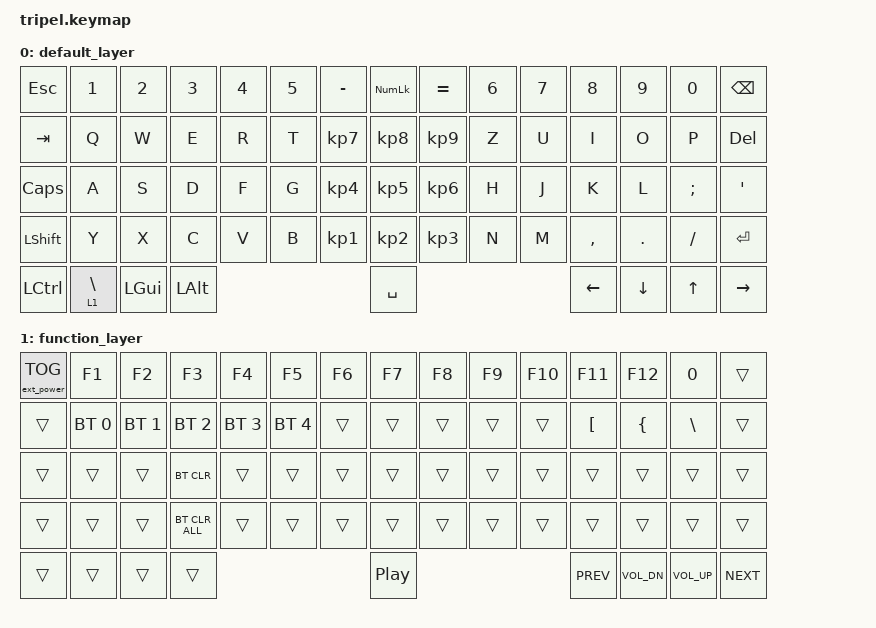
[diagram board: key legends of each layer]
#include <behaviors.dtsi>
#include <dt-bindings/zmk/keys.h>
#include <dt-bindings/zmk/bt.h>
#include <dt-bindings/zmk/ext_power.h>

/ {
    keymap {
        compatible = "zmk,keymap";

        default_layer {
// ,-----------------------------------------------------------------------------------------------------------------------.
// | ESC   |   1   |   2   |   3   |   4   |   5   |   -   |  Num  |   =   |   6   |   7   |   8   |   9   |   0   | BSPC  |
// |-------+-------+-------+-------+-------+-------+-------+-------+-------+-------+-------+-------+-------+-------+-------|
// |  Tab  |   Q   |   W   |   E   |   R   |   T   |   7   |   8   |   9   |   Z   |   U   |   I   |   O   |   P   |  Del  |
// |-------+-------+-------+-------+-------+-------+-------+-------+-------+-------+-------+-------+-------+-------+-------|
// | CAPS  |   A   |   S   |   D   |   F   |   G   |   4   |   5   |   6   |   H   |   J   |   K   |   L   |   ;   |   '   |
// |-------+-------+-------+-------+-------+-------+-------+-------+-------+-------+-------+-------+-------+-------+-------|
// | Shift |   Y   |   X   |   C   |   V   |   B   |   1   |   2   |   3   |   N   |   M   |   ,   |   .   |   /   | Enter |
// |-------+-------+---------------------------------------------------------------------------------------+-------+-------|
// | Ctrl  | Fn  \ |  Cmd  |  Alt  |                         Space                         | Left  | Down  |  Up   | Right |
// `-----------------------------------------------------------------------------------------------------------------------'
            bindings = <
&kp ESC           &kp N1       &kp N2       &kp N3         &kp N4       &kp N5       &kp MINUS  &kp KP_NUM       &kp EQUAL   &kp N6  &kp N7   &kp N8     &kp N9       &kp N0       &kp BSPC
&kp TAB           &kp Q        &kp W        &kp E          &kp R        &kp T        &kp KP_N7  &kp KP_N8        &kp KP_N9   &kp Z   &kp U    &kp I      &kp O        &kp P        &kp DEL
&kp CAPS          &kp A        &kp S        &kp D          &kp F        &kp G        &kp KP_N4  &kp KP_N5        &kp KP_N6   &kp H   &kp J    &kp K      &kp L        &kp SEMI     &kp SQT
&kp LSHIFT        &kp Y        &kp X        &kp C          &kp V        &kp B        &kp KP_N1  &kp KP_N2        &kp KP_N3   &kp N   &kp M    &kp COMMA  &kp DOT      &kp SLASH    &kp ENTER
&kp LCTRL         &lt 1 BSLH   &kp LGUI     &kp LALT                                            &kp SPACE                                     &kp LEFT   &kp DOWN     &kp UP       &kp RIGHT
            >;
        };

        function_layer {
            bindings = <
&ext_power EP_TOG &kp F1       &kp F2       &kp F3         &kp F4       &kp F5       &kp F6     &kp F7           &kp F8      &kp F9  &kp F10  &kp F11    &kp F12      &kp N0       &trans
&trans            &bt BT_SEL 0 &bt BT_SEL 1 &bt BT_SEL 2   &bt BT_SEL 3 &bt BT_SEL 4 &trans     &trans           &trans      &trans  &trans   &kp LBKT   &kp LBRC     &kp BSLH     &trans
&trans            &trans       &trans       &bt BT_CLR     &trans       &trans       &trans     &trans           &trans      &trans  &trans   &trans     &trans       &trans       &trans
&trans            &trans       &trans       &bt BT_CLR_ALL &trans       &trans       &trans     &trans           &trans      &trans  &trans   &trans     &trans       &trans       &trans
&trans            &trans       &trans       &trans                                              &kp C_PLAY_PAUSE                              &kp C_PREV &kp C_VOL_DN &kp C_VOL_UP &kp C_NEXT
            >;
        };
    };
};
